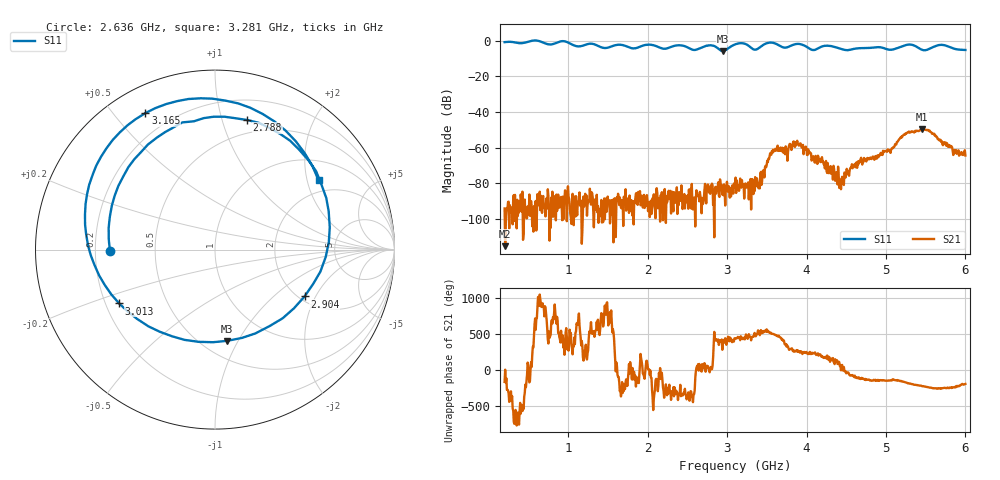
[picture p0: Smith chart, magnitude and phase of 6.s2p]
! NanoVNA-App
! Date: 2024-06-25 16:06:19
! Start: 200MHz Stop: 6GHz Points: 801
! S-Parameter data: F S11 S21 S12 S22
# Hz S RI R 50
!  Frequency  S11_Real  S11_Imag  S21_Real  S21_Imag  S12_Real  S12_Imag  S22_Real  S22_Imag
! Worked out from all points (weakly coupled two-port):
!   801 points, 200 MHz to 6 GHz, reference 50 ohm
!   highest |S21| = -49.59 dB at 5.449 GHz (marker M1); lowest = -115.3 dB at 207.2 MHz (marker M2)
!   lowest |S11| = -5.8 dB at 2.948 GHz (marker M3), VSWR 3.11, Z = 32.7 - j45.1 ohm
!   |S11| at or under -10 dB: nowhere
!   S12 and S22 are empty: the file has one direction only
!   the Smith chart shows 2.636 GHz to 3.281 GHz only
!   S11 on the Smith chart (normalised r, x): 2.636 GHz: 0.26, -0.01; 2.788 GHz: 0.37, +1.21; 2.904 GHz: 2.14, -1.64; 3.013 GHz: 0.26, -0.25; 3.165 GHz: 0.11, +0.61; 3.281 GHz: 1.58, +2.35
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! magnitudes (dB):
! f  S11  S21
! 200 MHz  -0.8  -94.1
! 207.2 MHz  -0.7  -115.3
! 1.171 GHz  -2.9  -114.0
! 2.136 GHz  -3.5  -93.2
! 2.636 GHz  -4.6  -86.6
! 2.788 GHz  -2.6  -85.9
! 2.904 GHz  -5.0  -87.7
! 2.948 GHz  -5.8  -81.3
! 3.013 GHz  -4.3  -84.8
! 3.1 GHz  -2.1  -82.2
! 3.165 GHz  -1.4  -77.3
! 3.281 GHz  -3.2  -81.5
! 3.412 GHz  -3.7  -82.9
! 3.607 GHz  -1.5  -60.6
! 3.89 GHz  -1.7  -57.7
! 4.072 GHz  -5.1  -66.3
! 4.441 GHz  -4.6  -78.2
! 4.659 GHz  -4.2  -67.5
! 5.036 GHz  -5.0  -61.2
! 5.246 GHz  -2.5  -52.0
! 5.449 GHz  -5.0  -49.6
! 6 GHz  -5.2  -64.4
